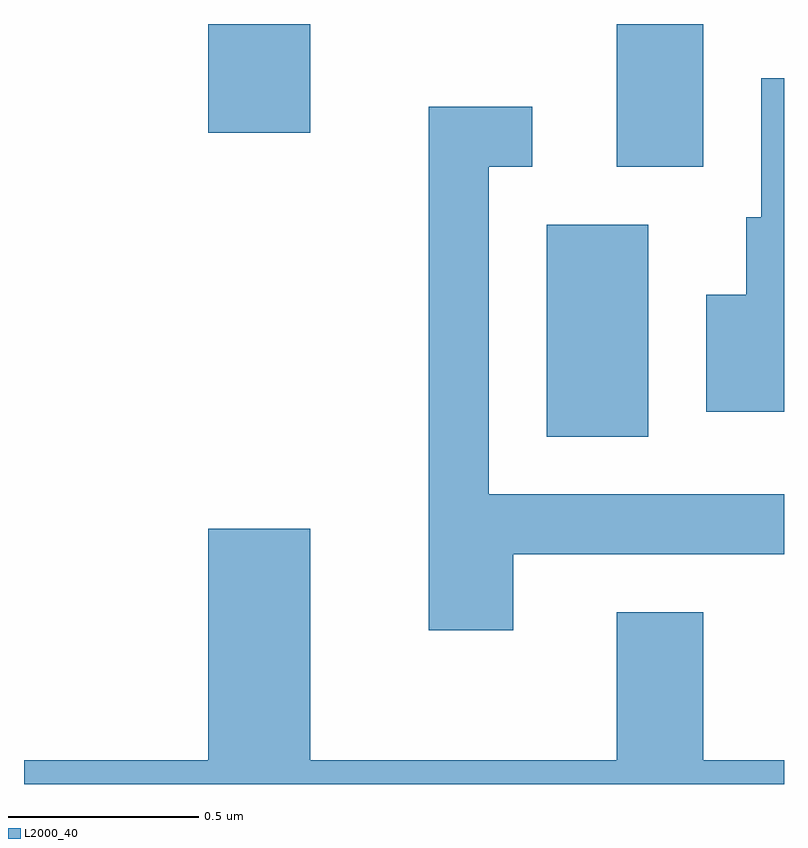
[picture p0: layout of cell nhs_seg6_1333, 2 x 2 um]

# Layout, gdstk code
import gdstk
lib = gdstk.Library(unit=1e-6, precision=1e-09)
def R(c, l, rs):  # rectangles x0, y0, x1, y1
    for r in rs: c.add(gdstk.rectangle(r[:2], r[2:], *l))
def P(c, l, *ps):  # polygons
    for p in ps: c.add(gdstk.Polygon(p, *l))
L2000_40 = (2000, 40)

nhs_seg6_1333 = lib.new_cell('nhs_seg6_1333')
R(nhs_seg6_1333, L2000_40, [(195.986,1631.076,196.254,1631.634), (196.171,1631.786,196.399,1632.162), (195.096,1631.876,195.364,1632.162)])
P(nhs_seg6_1333, L2000_40, [(196.611,1632.019),(196.551,1632.019),(196.551,1631.654),(196.511,1631.654),(196.511,1631.449),(196.406,1631.449),(196.406,1631.141),(196.611,1631.141)],
  [(195.899,1630.766),(196.611,1630.766),(196.611,1630.924),(195.834,1630.924),(195.834,1631.786),(195.948,1631.786),(195.948,1631.944),(195.676,1631.944),(195.676,1630.566),(195.899,1630.566)],
  [(196.611,1630.224),(196.399,1630.224),(196.399,1630.614),(196.171,1630.614),(196.171,1630.224),(195.364,1630.224),(195.364,1630.834),(195.096,1630.834),(195.096,1630.224),(194.611,1630.224),(194.611,1630.162),(196.611,1630.162)])

lib.write_gds('nhs_seg6_1333.gds')
